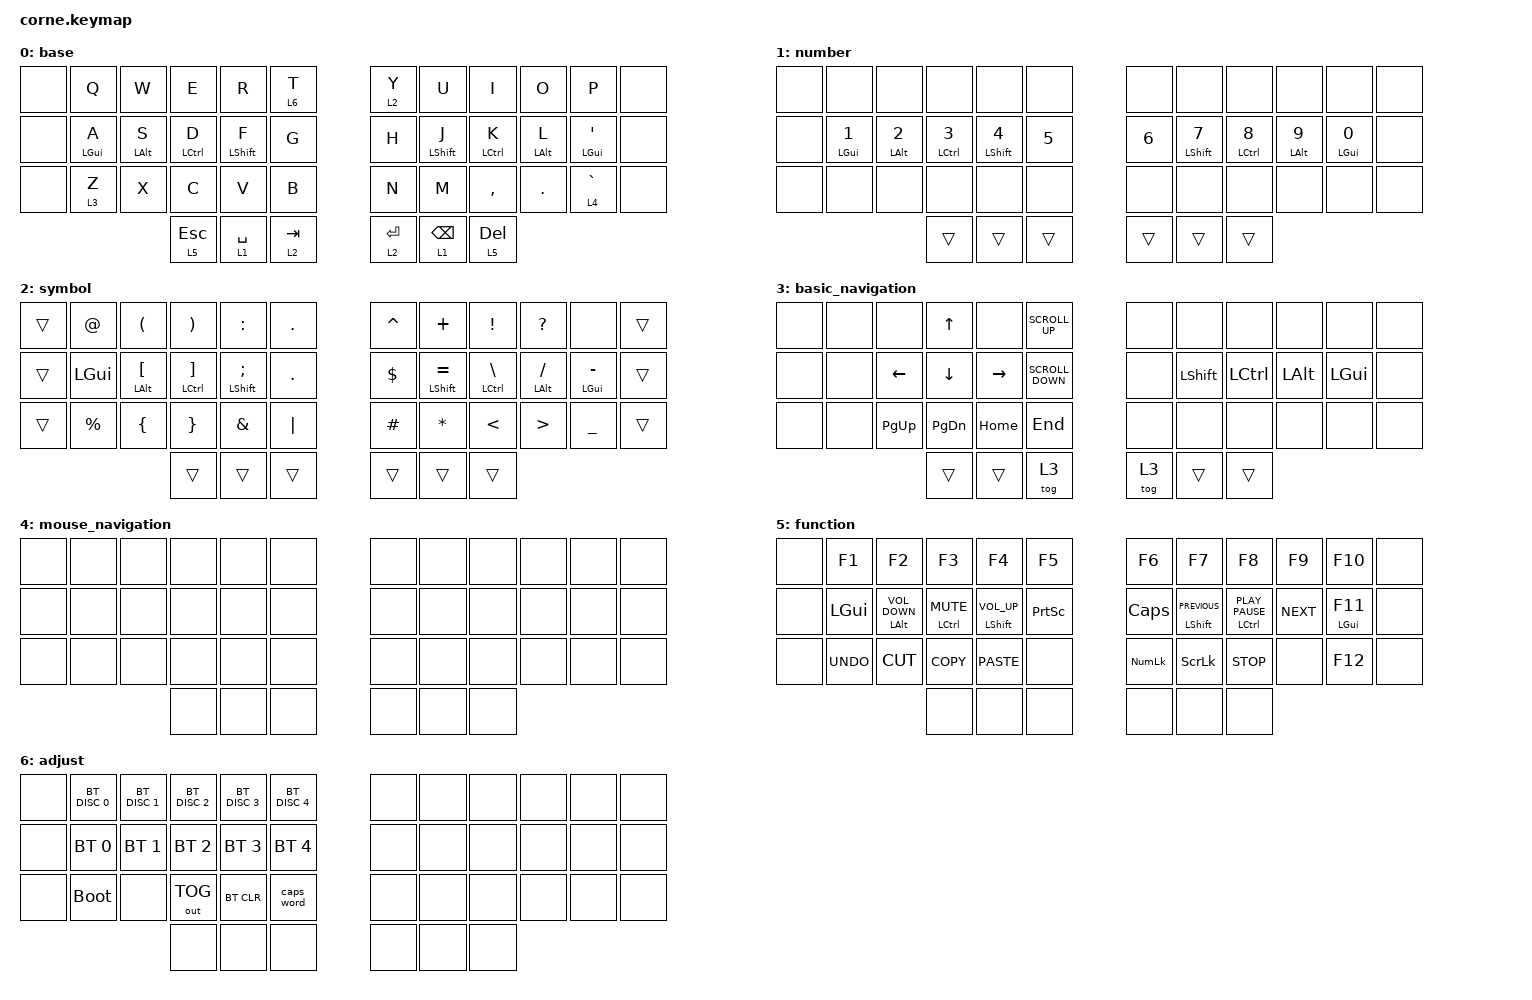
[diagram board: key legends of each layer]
/*
 * Copyright (c) 2020 The ZMK Contributors
 *
 * SPDX-License-Identifier: MIT
 */

#include <behaviors.dtsi>
#include <dt-bindings/zmk/bt.h>
#include <dt-bindings/zmk/keys.h>
#include <dt-bindings/zmk/outputs.h>

/ {
    keymap {
        compatible = "zmk,keymap";

        base {
            // -----------------------------------------------------------------------------------------
            // |  TAB |  Q  |  W  |  E  |  R  |  T  |   |  Y  |  U   |  I  |  O  |  P  | BKSP |
            // | CTRL |  A  |  S  |  D  |  F  |  G  |   |  H  |  J   |  K  |  L  |  ;  |  '   |
            // | SHFT |  Z  |  X  |  C  |  V  |  B  |   |  N  |  M   |  ,  |  .  |  /  | ESC  |
            //                    | GUI | LWR | SPC |   | ENT | RSE  | ALT |

            bindings = <
&none  &kp Q           &kp W           &kp E               &kp R             &lt 6 T      &lt 2 Y      &kp U             &kp I               &kp O           &kp P                      &none
&none  &mt LEFT_GUI A  &mt LEFT_ALT S  &mt LEFT_CONTROL D  &mt LEFT_SHIFT F  &kp G        &kp H        &mt LEFT_SHIFT J  &mt LEFT_CONTROL K  &mt LEFT_ALT L  &mt LEFT_GUI SINGLE_QUOTE  &none
&none  &lt 3 Z         &kp X           &kp C               &kp V             &kp B        &kp N        &kp M             &kp COMMA           &kp DOT         &lt 4 GRAVE                &none
                                       &lt 5 ESCAPE        &lt 1 SPACE       &lt 2 TAB    &lt 2 ENTER  &lt 1 BACKSPACE   &lt 5 DELETE
            >;
        };

        number {
            bindings = <
&none  &none            &none            &none                &none              &none     &none   &none              &none                &none            &none            &none
&none  &mt LEFT_GUI N1  &mt LEFT_ALT N2  &mt LEFT_CONTROL N3  &mt LEFT_SHIFT N4  &kp N5    &kp N6  &mt LEFT_SHIFT N7  &mt LEFT_CONTROL N8  &mt LEFT_ALT N9  &mt LEFT_GUI N0  &none
&none  &none            &none            &none                &none              &none     &none   &none              &none                &none            &none            &none
                                         &trans               &trans             &trans    &trans  &trans             &trans
            >;
        };

        symbol {
            bindings = <
&trans  &kp AT_SIGN   &kp LEFT_PARENTHESIS       &kp RIGHT_PARENTHESIS           &kp COLON                 &kp PERIOD    &kp CARET   &kp PLUS              &kp EXCLAMATION             &kp QUESTION        &none               &trans
&trans  &kp LEFT_GUI  &mt LEFT_ALT LEFT_BRACKET  &mt LEFT_CONTROL RIGHT_BRACKET  &mt LEFT_SHIFT SEMICOLON  &kp PERIOD    &kp DOLLAR  &mt LEFT_SHIFT EQUAL  &mt LEFT_CONTROL BACKSLASH  &mt LEFT_ALT SLASH  &mt LEFT_GUI MINUS  &trans
&trans  &kp PERCENT   &kp LEFT_BRACE             &kp RIGHT_BRACE                 &kp AMPERSAND             &kp PIPE      &kp HASH    &kp ASTERISK          &kp LESS_THAN               &kp GREATER_THAN    &kp UNDERSCORE      &trans
                                                 &trans                          &trans                    &trans        &trans      &trans                &trans
            >;
        };

        basic_navigation {
            bindings = <
&none  &none  &none        &kp UP         &none      &kp K_SCROLL_UP      &none   &none      &none      &none     &none     &none
&none  &none  &kp LEFT     &kp DOWN       &kp RIGHT  &kp K_SCROLL_DOWN    &none   &kp LSHFT  &kp LCTRL  &kp LALT  &kp LGUI  &none
&none  &none  &kp PAGE_UP  &kp PAGE_DOWN  &kp HOME   &kp END              &none   &none      &none      &none     &none     &none
                           &trans         &trans     &tog 3               &tog 3  &trans     &trans
            >;
        };

        mouse_navigation {
            bindings = <
&none  &none  &none  &none  &none  &none    &none  &none  &none  &none  &none  &none
&none  &none  &none  &none  &none  &none    &none  &none  &none  &none  &none  &none
&none  &none  &none  &none  &none  &none    &none  &none  &none  &none  &none  &none
                     &none  &none  &none    &none  &none  &none
            >;
        };

        function {
            bindings = <
&none  &kp F1      &kp F2                      &kp F3                   &kp F4                      &kp F5             &kp F6          &kp F7                     &kp F8                         &kp F9      &kp F10           &none
&none  &kp LGUI    &mt LEFT_ALT C_VOLUME_DOWN  &mt LEFT_CONTROL K_MUTE  &mt LEFT_SHIFT C_VOLUME_UP  &kp PRINTSCREEN    &kp CAPSLOCK    &mt LEFT_SHIFT K_PREVIOUS  &mt LEFT_CONTROL K_PLAY_PAUSE  &kp K_NEXT  &mt LEFT_GUI F11  &none
&none  &kp K_UNDO  &kp K_CUT                   &kp K_COPY               &kp K_PASTE                 &none              &kp KP_NUMLOCK  &kp SCROLLLOCK             &kp K_STOP                     &none       &kp F12           &none
                                               &none                    &none                       &none              &none           &none                      &none
            >;
        };

        adjust {
            bindings = <
&none  &bt BT_DISC 0  &bt BT_DISC 1  &bt BT_DISC 2  &bt BT_DISC 3  &bt BT_DISC 4    &none  &none  &none  &none  &none  &none
&none  &bt BT_SEL 0   &bt BT_SEL 1   &bt BT_SEL 2   &bt BT_SEL 3   &bt BT_SEL 4     &none  &none  &none  &none  &none  &none
&none  &bootloader    &none          &out OUT_TOG   &bt BT_CLR     &caps_word       &none  &none  &none  &none  &none  &none
                                     &none          &none          &none            &none  &none  &none
            >;
        };
    };
};
